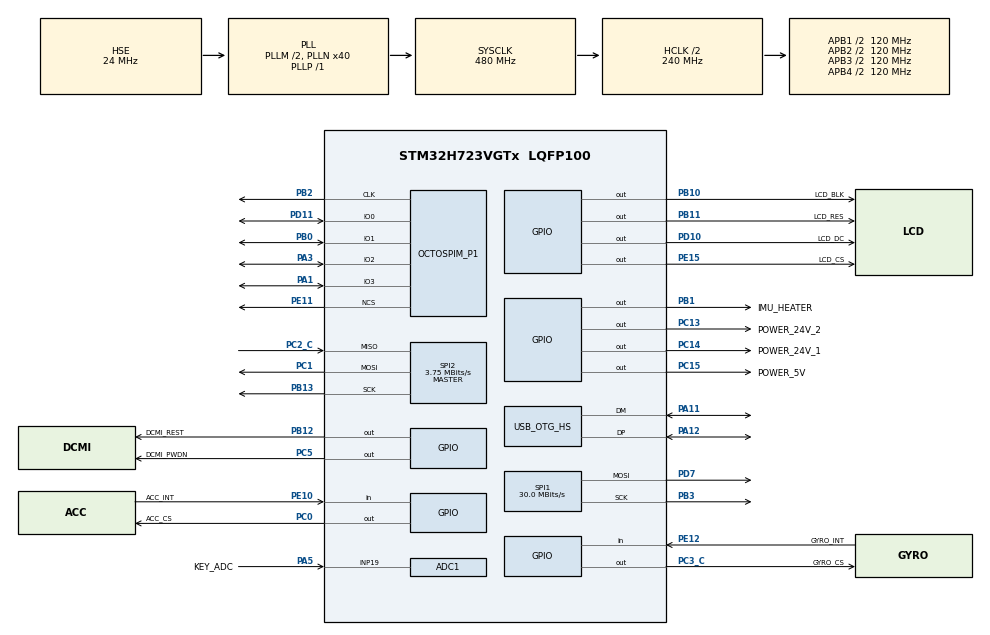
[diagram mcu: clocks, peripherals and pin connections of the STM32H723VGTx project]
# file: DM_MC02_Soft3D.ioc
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ADC1.Channel-0\#ChannelRegularConversion=ADC_CHANNEL_19
ADC1.ClockPrescaler=ADC_CLOCK_ASYNC_DIV64
ADC1.ContinuousConvMode=DISABLE
ADC1.ConversionDataManagement=ADC_CONVERSIONDATA_DR
ADC1.NbrOfConversion=1
ADC1.NbrOfConversionFlag=1
ADC1.OffsetNumber-0\#ChannelRegularConversion=ADC_OFFSET_NONE
ADC1.OffsetSignedSaturation-0\#ChannelRegularConversion=DISABLE
ADC1.Rank-0\#ChannelRegularConversion=1
ADC1.Resolution=ADC_RESOLUTION_16B
ADC1.SamplingTime-0\#ChannelRegularConversion=ADC_SAMPLETIME_32CYCLES_5
ADC1.master=1
CORTEX_M7.CPU_DCache=Disabled
CORTEX_M7.CPU_ICache=Enabled
CORTEX_M7.MPU_Control=__NULL
Dma.Request0=SPI1_TX
Dma.SPI1_TX.0.Direction=DMA_MEMORY_TO_PERIPH
Dma.SPI1_TX.0.EventEnable=DISABLE
Dma.SPI1_TX.0.FIFOMode=DMA_FIFOMODE_DISABLE
Dma.SPI1_TX.0.Instance=DMA1_Stream0
Dma.SPI1_TX.0.MemDataAlignment=DMA_MDATAALIGN_BYTE
Dma.SPI1_TX.0.MemInc=DMA_MINC_ENABLE
Dma.SPI1_TX.0.Mode=DMA_NORMAL
Dma.SPI1_TX.0.PeriphDataAlignment=DMA_PDATAALIGN_BYTE
Dma.SPI1_TX.0.PeriphInc=DMA_PINC_DISABLE
Dma.SPI1_TX.0.Polarity=HAL_DMAMUX_REQ_GEN_RISING
Dma.SPI1_TX.0.Priority=DMA_PRIORITY_HIGH
Dma.SPI1_TX.0.RequestNumber=1
Dma.SPI1_TX.0.SignalID=NONE
Dma.SPI1_TX.0.SyncEnable=DISABLE
Dma.SPI1_TX.0.SyncPolarity=HAL_DMAMUX_SYNC_NO_EVENT
Dma.SPI1_TX.0.SyncRequestNumber=1
Dma.SPI1_TX.0.SyncSignalID=NONE
FREERTOS.INCLUDE_uxTaskGetStackHighWaterMark=1
FREERTOS.INCLUDE_vTaskDelayUntil=1
FREERTOS.Tasks01=defaultTask,16,512,StartDefaultTask,Default,NULL,Dynamic,NULL,NULL;RenderTask,24,2048,RenderTask_Entry,As weak,NULL,Dynamic,NULL,NULL;InputTask,32,512,InputTask_Entry,As weak,NULL,Dynamic,NULL,NULL
FREERTOS.configENABLE_FPU=1
FREERTOS.configTOTAL_HEAP_SIZE=32768
Mcu.Family=STM32H7
Mcu.Name=STM32H723VGTx
Mcu.Package=LQFP100
NVIC.DMA1_Stream0_IRQn=true\:5\:0\:false\:false\:true\:false\:false\:true\:true
NVIC.OTG_HS_IRQn=true\:5\:0\:false\:false\:true\:true\:false\:true\:true
NVIC.PriorityGroup=NVIC_PRIORITYGROUP_4
NVIC.SPI1_IRQn=true\:5\:0\:false\:false\:true\:true\:false\:true\:true
NVIC.TIM23_IRQn=true\:15\:0\:false\:false\:true\:false\:false\:true\:true
NVIC.TimeBase=TIM23_IRQn
NVIC.TimeBaseIP=TIM23
OCTOSPI2.ClockMode=HAL_OSPI_CLOCK_MODE_3
OCTOSPI2.ClockPrescaler=4
OCTOSPI2.DeviceSize=23
OCTOSPI2.DeviceType=SPI_DEVICE_FLASH
OCTOSPI2.FifoThreshold=8
OCTOSPI2.SampleShifting=HAL_OSPI_SAMPLE_SHIFTING_HALFCYCLE
PA1.Mode=OCTOSPI2_IOL_Port1L
PA1.Signal=OCTOSPIM_P1_IO3
PA11.Mode=Device_Only_FS
PA11.Signal=USB_OTG_HS_DM
PA12.Mode=Device_Only_FS
PA12.Signal=USB_OTG_HS_DP
PA13(JTMS/SWDIO).Mode=Serial_Wire
PA13(JTMS/SWDIO).Signal=DEBUG_JTMS-SWDIO
PA14(JTCK/SWCLK).Mode=Serial_Wire
PA14(JTCK/SWCLK).Signal=DEBUG_JTCK-SWCLK
PA3.Mode=OCTOSPI2_IOL_Port1L
PA3.Signal=OCTOSPIM_P1_IO2
PA5.GPIO_Label=KEY_ADC
PA5.Signal=ADCx_INP19
PB0.Mode=OCTOSPI2_IOL_Port1L
PB0.Signal=OCTOSPIM_P1_IO1
PB1.GPIO_Label=IMU_HEATER
PB1.PinState=GPIO_PIN_RESET
PB1.Signal=GPIO_Output
PB10.GPIO_Label=LCD_BLK
PB10.PinState=GPIO_PIN_RESET
PB10.Signal=GPIO_Output
PB11.GPIO_Label=LCD_RES
PB11.PinState=GPIO_PIN_RESET
PB11.Signal=GPIO_Output
PB12.GPIO_Label=DCMI_REST
PB12.GPIO_PuPd=GPIO_PULLUP
PB12.GPIO_Speed=GPIO_SPEED_FREQ_VERY_HIGH
PB12.PinState=GPIO_PIN_SET
PB12.Signal=GPIO_Output
PB13.GPIO_Speed=GPIO_SPEED_FREQ_VERY_HIGH
PB13.Mode=Full_Duplex_Master
PB13.Signal=SPI2_SCK
PB2.Mode=O2_P1_CLK
PB2.Signal=OCTOSPIM_P1_CLK
PB3(JTDO/TRACESWO).GPIO_Speed=GPIO_SPEED_FREQ_VERY_HIGH
PB3(JTDO/TRACESWO).Mode=TX_Only_Simplex_Unidirect_Master
PB3(JTDO/TRACESWO).Signal=SPI1_SCK
PC0.GPIO_Label=ACC_CS
PC0.GPIO_Speed=GPIO_SPEED_FREQ_VERY_HIGH
PC0.PinState=GPIO_PIN_SET
PC0.Signal=GPIO_Output
PC1.GPIO_Speed=GPIO_SPEED_FREQ_VERY_HIGH
PC1.Mode=Full_Duplex_Master
PC1.Signal=SPI2_MOSI
PC13.GPIO_Label=POWER_24V_2
PC13.PinState=GPIO_PIN_SET
PC13.Signal=GPIO_Output
PC14-OSC32_IN.GPIO_Label=POWER_24V_1
PC14-OSC32_IN.PinState=GPIO_PIN_SET
PC14-OSC32_IN.Signal=GPIO_Output
PC15-OSC32_OUT.GPIO_Label=POWER_5V
PC15-OSC32_OUT.PinState=GPIO_PIN_SET
PC15-OSC32_OUT.Signal=GPIO_Output
PC2_C.GPIO_Speed=GPIO_SPEED_FREQ_VERY_HIGH
PC2_C.Mode=Full_Duplex_Master
PC2_C.Signal=SPI2_MISO
PC3_C.GPIO_Label=GYRO_CS
PC3_C.GPIO_Speed=GPIO_SPEED_FREQ_VERY_HIGH
PC3_C.PinState=GPIO_PIN_SET
PC3_C.Signal=GPIO_Output
PC5.GPIO_Label=DCMI_PWDN
PC5.GPIO_PuPd=GPIO_NOPULL
PC5.GPIO_Speed=GPIO_SPEED_FREQ_VERY_HIGH
PC5.PinState=GPIO_PIN_SET
PC5.Signal=GPIO_Output
PD10.GPIO_Label=LCD_DC
PD10.PinState=GPIO_PIN_RESET
PD10.Signal=GPIO_Output
PD11.Mode=OCTOSPI2_IOL_Port1L
PD11.Signal=OCTOSPIM_P1_IO0
PD7.GPIO_Speed=GPIO_SPEED_FREQ_VERY_HIGH
PD7.Mode=TX_Only_Simplex_Unidirect_Master
PD7.Signal=SPI1_MOSI
PE10.GPIO_Label=ACC_INT
PE10.Signal=GPIO_Input
PE11.Mode=OCTOSPI2_Port1_NCS
PE11.Signal=OCTOSPIM_P1_NCS
PE12.GPIO_Label=GYRO_INT
PE12.Signal=GPIO_Input
PE15.GPIO_Label=LCD_CS
PE15.PinState=GPIO_PIN_SET
PE15.Signal=GPIO_Output
PH0-OSC_IN.Mode=HSE-External-Oscillator
PH0-OSC_IN.Signal=RCC_OSC_IN
PH1-OSC_OUT.Mode=HSE-External-Oscillator
PH1-OSC_OUT.Signal=RCC_OSC_OUT
ProjectManager.HeapSize=0x400
ProjectManager.StackSize=0x1000
ProjectManager.TargetToolchain=MDK-ARM V5.27
RCC.ADCFreq_Value=96000000
RCC.APB1Freq_Value=120000000
RCC.APB2Freq_Value=120000000
RCC.APB3Freq_Value=120000000
RCC.APB4Freq_Value=120000000
RCC.CortexFreq_Value=480000000
RCC.D1PPRE=RCC_APB3_DIV2
RCC.D2PPRE1=RCC_APB1_DIV2
RCC.D2PPRE2=RCC_APB2_DIV2
RCC.D3PPRE=RCC_APB4_DIV2
RCC.DIVM1=2
RCC.DIVM2=2
RCC.DIVN1=40
RCC.DIVN2=16
RCC.DIVP1=1
RCC.DIVQ1=4
RCC.EnbaleCSS=false
RCC.HCLKFreq_Value=240000000
RCC.HPRE=RCC_HCLK_DIV2
RCC.HSE_VALUE=24000000
RCC.PLL2FRACN=0
RCC.PLL2_VCI_Range-AdvancedSettings=RCC_PLL2VCIRANGE_3
RCC.PLL2_VCO_SEL-AdvancedSettings=RCC_PLL2VCOWIDE
RCC.PLL3FRACN=0
RCC.PLL3_VCO_SEL-AdvancedSettings=RCC_PLL3VCOMEDIUM
RCC.PLLFRACN=0
RCC.PLLSourceVirtual=RCC_PLLSOURCE_HSE
RCC.SYSCLKFreq_VALUE=480000000
RCC.SYSCLKSource=RCC_SYSCLKSOURCE_PLLCLK
RCC.USBCLockSelection=RCC_USBCLKSOURCE_HSI48
RCC.USBFreq_Value=48000000
SH.ADCx_INP19.0=ADC1_INP19,IN19-Single-Ended
SPI1.BaudRatePrescaler=SPI_BAUDRATEPRESCALER_4
SPI1.CLKPhase=SPI_PHASE_1EDGE
SPI1.CLKPolarity=SPI_POLARITY_HIGH
SPI1.CalculateBaudRate=30.0 MBits/s
SPI1.DataSize=SPI_DATASIZE_8BIT
SPI1.Direction=SPI_DIRECTION_2LINES_TXONLY
SPI1.MasterKeepIOState=SPI_MASTER_KEEP_IO_STATE_ENABLE
SPI1.Mode=SPI_MODE_MASTER
SPI1.VirtualType=VM_MASTER
SPI2.BaudRatePrescaler=SPI_BAUDRATEPRESCALER_32
SPI2.CLKPhase=SPI_PHASE_2EDGE
SPI2.CLKPolarity=SPI_POLARITY_HIGH
SPI2.CalculateBaudRate=3.75 MBits/s
SPI2.DataSize=SPI_DATASIZE_8BIT
SPI2.Direction=SPI_DIRECTION_2LINES
SPI2.Mode=SPI_MODE_MASTER
SPI2.VirtualType=VM_MASTER
USB_DEVICE.CLASS_NAME_HS=CDC
USB_DEVICE.VirtualMode=Cdc
USB_DEVICE.VirtualModeHS=Cdc_HS
USB_OTG_HS.VirtualMode-Device_Only_FS=Device_Only_FS
VP_FREERTOS_VS_CMSIS_V2.Mode=CMSIS_V2
VP_OCTOSPI2_VS_quad.Mode=quad_mode
VP_SYS_VS_tim23.Mode=TIM23
VP_USB_DEVICE_VS_USB_DEVICE_CDC_HS.Mode=CDC_HS
board=custom

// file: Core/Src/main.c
/* USER CODE BEGIN Header */
/**
  ******************************************************************************
  * @file           : main.c
  * @brief          : Main program body
  ******************************************************************************
  * @attention
  *
  * Copyright (c) 2026 STMicroelectronics.
  * All rights reserved.
  *
  * This software is licensed under terms that can be found in the LICENSE file
  * in the root directory of this software component.
  * If no LICENSE file comes with this software, it is provided AS-IS.
  *
  ******************************************************************************
  */
/* USER CODE END Header */
#include "main.h"
#include "FreeRTOS.h"
#include "cmsis_os2.h"
#include "adc.h"
#include "dma.h"
#include "octospi.h"
#include "spi.h"
#include "usb_device.h"
#include "gpio.h"

/* USER CODE BEGIN Includes */
#include "soft3d_boot.h"
/* USER CODE END Includes */

void SystemClock_Config(void);
void MX_FREERTOS_Init(void);

int main(void)
{

  /* Enable the CPU Cache */

  /* Enable I-Cache---------------------------------------------------------*/
  SCB_EnableICache();

  /* MCU Configuration--------------------------------------------------------*/

  /* Reset of all peripherals, Initializes the Flash interface and the Systick. */
  HAL_Init();

  /* Configure the system clock */
  SystemClock_Config();

  /* Initialize all configured peripherals */
  MX_GPIO_Init();
  MX_DMA_Init();
  MX_SPI1_Init();
  MX_ADC1_Init();
  MX_SPI2_Init();
  MX_OCTOSPI2_Init();
  /* USER CODE BEGIN 2 */
  (void)Soft3D_BootStatus("RTOS STARTING", "LCD POLLING OK", SOFT3D_DISPLAY_BUILD);
  /* USER CODE END 2 */

  /* Init scheduler */
  osKernelInitialize();  /* Call init function for freertos objects (in cmsis_os2.c) */
  MX_FREERTOS_Init();

  /* Start scheduler */
  osKernelStart();

  /* We should never get here as control is now taken by the scheduler */

  /* Infinite loop */
  while (1)
  {

  }
}

void SystemClock_Config(void)
{
  RCC_OscInitTypeDef RCC_OscInitStruct = {0};
  RCC_ClkInitTypeDef RCC_ClkInitStruct = {0};

  /** Supply configuration update enable
  */
  HAL_PWREx_ConfigSupply(PWR_LDO_SUPPLY);

  /** Configure the main internal regulator output voltage
  */
  __HAL_PWR_VOLTAGESCALING_CONFIG(PWR_REGULATOR_VOLTAGE_SCALE0);

  while(!__HAL_PWR_GET_FLAG(PWR_FLAG_VOSRDY)) {}

  /** Initializes the RCC Oscillators according to the specified parameters
  * in the RCC_OscInitTypeDef structure.
  */
  RCC_OscInitStruct.OscillatorType = RCC_OSCILLATORTYPE_HSI48|RCC_OSCILLATORTYPE_HSE;
  RCC_OscInitStruct.HSEState = RCC_HSE_ON;
  RCC_OscInitStruct.HSI48State = RCC_HSI48_ON;
  RCC_OscInitStruct.PLL.PLLState = RCC_PLL_ON;
  RCC_OscInitStruct.PLL.PLLSource = RCC_PLLSOURCE_HSE;
  RCC_OscInitStruct.PLL.PLLM = 2;
  RCC_OscInitStruct.PLL.PLLN = 40;
  RCC_OscInitStruct.PLL.PLLP = 1;
  RCC_OscInitStruct.PLL.PLLQ = 4;
  RCC_OscInitStruct.PLL.PLLR = 2;
  RCC_OscInitStruct.PLL.PLLRGE = RCC_PLL1VCIRANGE_3;
  RCC_OscInitStruct.PLL.PLLVCOSEL = RCC_PLL1VCOWIDE;
  RCC_OscInitStruct.PLL.PLLFRACN = 0;
  if (HAL_RCC_OscConfig(&RCC_OscInitStruct) != HAL_OK)
  {
    Error_Handler();
  }

  /** Initializes the CPU, AHB and APB buses clocks
  */
  RCC_ClkInitStruct.ClockType = RCC_CLOCKTYPE_HCLK|RCC_CLOCKTYPE_SYSCLK
                              |RCC_CLOCKTYPE_PCLK1|RCC_CLOCKTYPE_PCLK2
                              |RCC_CLOCKTYPE_D3PCLK1|RCC_CLOCKTYPE_D1PCLK1;
  RCC_ClkInitStruct.SYSCLKSource = RCC_SYSCLKSOURCE_PLLCLK;
  RCC_ClkInitStruct.SYSCLKDivider = RCC_SYSCLK_DIV1;
  RCC_ClkInitStruct.AHBCLKDivider = RCC_HCLK_DIV2;
  RCC_ClkInitStruct.APB3CLKDivider = RCC_APB3_DIV2;
  RCC_ClkInitStruct.APB1CLKDivider = RCC_APB1_DIV2;
  RCC_ClkInitStruct.APB2CLKDivider = RCC_APB2_DIV2;
  RCC_ClkInitStruct.APB4CLKDivider = RCC_APB4_DIV2;

  if (HAL_RCC_ClockConfig(&RCC_ClkInitStruct, FLASH_LATENCY_3) != HAL_OK)
  {
    Error_Handler();
  }
}

void HAL_TIM_PeriodElapsedCallback(TIM_HandleTypeDef *htim)
{
  if (htim->Instance == TIM23)
  {
    HAL_IncTick();
  }
}

void Error_Handler(void)
{
  __disable_irq();
  while (1)
  {
  }
}

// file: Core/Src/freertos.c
/* USER CODE BEGIN Header */
/**
  ******************************************************************************
  * File Name          : freertos.c
  * Description        : Code for freertos applications
  ******************************************************************************
  * @attention
  *
  * Copyright (c) 2026 STMicroelectronics.
  * All rights reserved.
  *
  * This software is licensed under terms that can be found in the LICENSE file
  * in the root directory of this software component.
  * If no LICENSE file comes with this software, it is provided AS-IS.
  *
  ******************************************************************************
  */
/* USER CODE END Header */

#include "FreeRTOS.h"
#include "task.h"
#include "main.h"
#include "FreeRTOS.h"
#include "cmsis_os2.h"

/* USER CODE BEGIN Includes */
#include "soft3d_app.h"
#include "soft3d_motion_task.h"
/* USER CODE END Includes */

/* USER CODE BEGIN Variables */
static osThreadId_t motionTaskHandle;
static const osThreadAttr_t motionTask_attributes = {
  .name = "MotionTask",
  .stack_size = 2048 * 4,
  .priority = (osPriority_t) osPriorityAboveNormal1,
};
/* USER CODE END Variables */
/* Definitions for defaultTask */
osThreadId_t defaultTaskHandle;
const osThreadAttr_t defaultTask_attributes = {
  .name = "defaultTask",
  .stack_size = 512 * 4,
  .priority = (osPriority_t) osPriorityBelowNormal,
};
/* Definitions for RenderTask */
osThreadId_t RenderTaskHandle;
const osThreadAttr_t RenderTask_attributes = {
  .name = "RenderTask",
  .stack_size = 2048 * 4,
  .priority = (osPriority_t) osPriorityNormal,
};
/* Definitions for InputTask */
osThreadId_t InputTaskHandle;
const osThreadAttr_t InputTask_attributes = {
  .name = "InputTask",
  .stack_size = 512 * 4,
  .priority = (osPriority_t) osPriorityAboveNormal,
};

void StartDefaultTask(void *argument);
void RenderTask_Entry(void *argument);
void InputTask_Entry(void *argument);

extern void MX_USB_DEVICE_Init(void);
void MX_FREERTOS_Init(void); /* (MISRA C 2004 rule 8.1) */

void MX_FREERTOS_Init(void) {

  /* USER CODE BEGIN RTOS_QUEUES */
  Soft3D_AppInit();
  /* USER CODE END RTOS_QUEUES */

  /* Create the thread(s) */
  /* creation of defaultTask */
  defaultTaskHandle = osThreadNew(StartDefaultTask, NULL, &defaultTask_attributes);

  /* creation of RenderTask */
  RenderTaskHandle = osThreadNew(RenderTask_Entry, NULL, &RenderTask_attributes);

  /* creation of InputTask */
  InputTaskHandle = osThreadNew(InputTask_Entry, NULL, &InputTask_attributes);

  /* USER CODE BEGIN RTOS_THREADS */
  motionTaskHandle = osThreadNew(MotionTask_Entry, NULL, &motionTask_attributes);
  if (defaultTaskHandle == NULL || RenderTaskHandle == NULL || InputTaskHandle == NULL ||
      motionTaskHandle == NULL) {
    g_soft3d_status.fatal_error = 4U;
    Error_Handler();
  }
  /* USER CODE END RTOS_THREADS */

}

void StartDefaultTask(void *argument)
{
  /* init code for USB_DEVICE */
  MX_USB_DEVICE_Init();
  /* USER CODE BEGIN StartDefaultTask */
  /* Infinite loop */
  for(;;)
  {
    Soft3D_AppTelemetry();
    osDelay(1000);
  }
  /* USER CODE END StartDefaultTask */
}

__weak void RenderTask_Entry(void *argument)
{
  for(;;)
  {
    osDelay(1);
  }
}

__weak void InputTask_Entry(void *argument)
{
  for(;;)
  {
    osDelay(1);
  }
}
